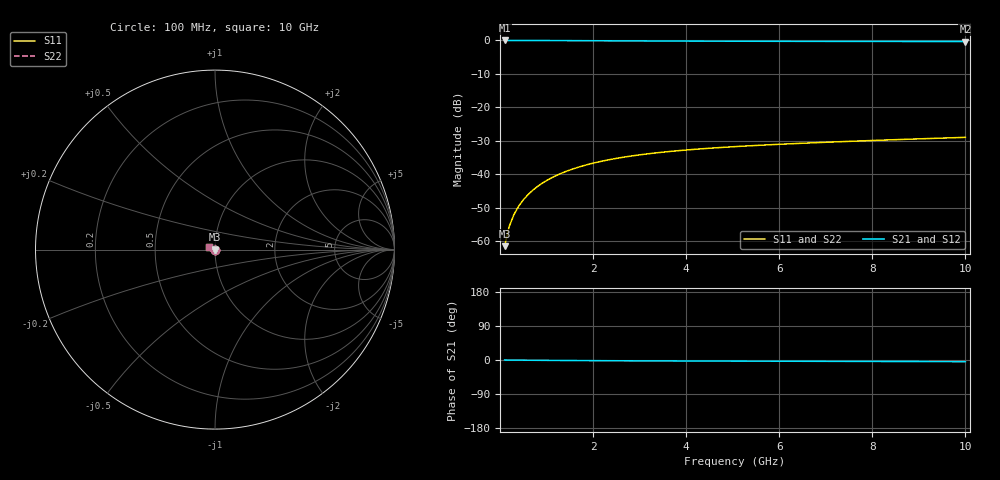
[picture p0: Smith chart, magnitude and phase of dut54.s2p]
! Touchstone file exported from HFSS 2024.1.0
!  File:  C:/UserFiles/LocalFiles/RDL_TSV_Batchsim/temp_TSV1_54_1779372322.aedt
!  Generated:  10:11:36 PM May 21, 2026
!  Design:  TSV1
!  Project:  temp_TSV1_54_1779372322
!  Setup:  Setup1
!  Solution:  Sweep
! Variables:
!  dtsv = 8.76um
!  hbump = 3um
!  htsv = 64.74um
!  lrdl = 252.1521522um
!  p = 40
!  p1 = 54.56um
!  t = 500um
!  trdl = 3um
!  wrdl = 24.89489489um
# GHz S MA R 50.000000
! Terminal data exported
! Port[1] = TSV22_T1
! Port[2] = TSV22_T2
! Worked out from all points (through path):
!   100 points, 100 MHz to 10 GHz, reference 50 ohm
!   highest |S21| = 0.00 dB at 100 MHz (marker M1); lowest = -0.3 dB at 10 GHz (marker M2)
!   lowest |S11| = -61.5 dB at 100 MHz (marker M3), VSWR 1.00, Z = 50 - j0.0827 ohm
!   |S11| at or under -10 dB: start of sweep to end of sweep
!   |S22| runs from -61.5 to -29.0 dB; largest |S21 - S12| = 3.4e-15
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0.1  0.0008379 -80.7  0.9998 -0.1  0.9998 -0.1  0.0008379 -80.7
! Gamma 0 0 0 0
! Port Impedance 50 0 50 0
0.2  0.00166 -88.2  0.9997 -0.2  0.9997 -0.2  0.00166 -88.2
0.3  0.002485 -92.3  0.9995 -0.3  0.9995 -0.3  0.002485 -92.3
0.4  0.003304 -95.4  0.9993 -0.4  0.9993 -0.4  0.003304 -95.4
0.5  0.004117 -98.1  0.999 -0.5  0.999 -0.5  0.004117 -98.1
0.6  0.00492 -100.5  0.9987 -0.6  0.9987 -0.6  0.00492 -100.5
0.7  0.005713 -102.9  0.9983 -0.7  0.9983 -0.7  0.005713 -102.9
0.8  0.006494 -105.1  0.9979 -0.8  0.9979 -0.8  0.006494 -105.1
0.9  0.007261 -107.3  0.9974 -0.9  0.9974 -0.9  0.007261 -107.3
1.1  0.008751 -111.5  0.9963 -1.0  0.9963 -1.0  0.008751 -111.5
1.4  0.01086 -117.5  0.9945 -1.3  0.9945 -1.3  0.01086 -117.5
1.6  0.01218 -121.3  0.9932 -1.4  0.9932 -1.4  0.01218 -121.3
1.8  0.01342 -124.9  0.9918 -1.6  0.9918 -1.6  0.01342 -124.9
2.1  0.01515 -130.1  0.9897 -1.8  0.9897 -1.8  0.01515 -130.1
2.5  0.01721 -136.6  0.9869 -2.0  0.9869 -2.0  0.01721 -136.6
2.9  0.01902 -142.5  0.9843 -2.2  0.9843 -2.2  0.01902 -142.5
3.4  0.02098 -149.3  0.9813 -2.4  0.9813 -2.4  0.02098 -149.3
4.2  0.02357 -158.8  0.9772 -2.7  0.9772 -2.7  0.02357 -158.8
5.1  0.02595 -167.9  0.9736 -3.0  0.9736 -3.0  0.02595 -167.9
6.7  0.02941 178.8  0.9691 -3.4  0.9691 -3.4  0.02941 178.8
8.4  0.03263 167.7  0.966 -3.9  0.966 -3.9  0.03263 167.7
10  0.03555 159.0  0.964 -4.4  0.964 -4.4  0.03555 159.0
